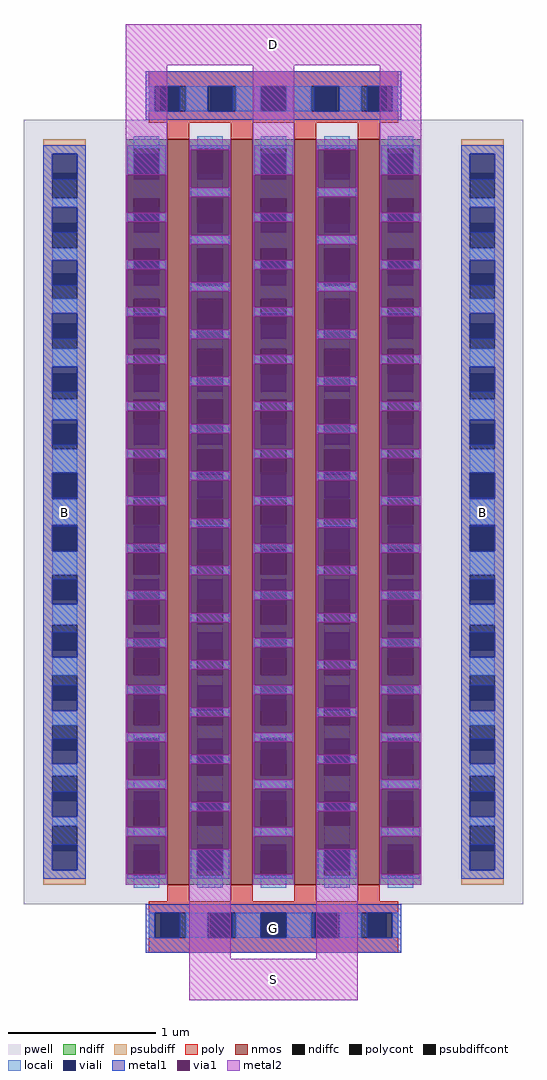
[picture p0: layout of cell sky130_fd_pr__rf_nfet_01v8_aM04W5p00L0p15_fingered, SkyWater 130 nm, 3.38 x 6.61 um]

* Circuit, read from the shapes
.subckt sky130_fd_pr__rf_nfet_01v8_aM04W5p00L0p15_fingered B D G S
XM1 S G D B sky130_fd_pr__nfet_01v8 w=5.05 l=0.15 m=4
.ends

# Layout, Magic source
magic
tech sky130A
magscale 1 2
<< pwell >>
rect 0 66 676 1128
<< nmos >>
rect 194 92 224 1102
rect 280 92 310 1102
rect 366 92 396 1102
rect 452 92 482 1102
<< ndiff >>
rect 138 1090 194 1102
rect 138 1056 149 1090
rect 183 1056 194 1090
rect 138 1022 194 1056
rect 138 988 149 1022
rect 183 988 194 1022
rect 138 954 194 988
rect 138 920 149 954
rect 183 920 194 954
rect 138 886 194 920
rect 138 852 149 886
rect 183 852 194 886
rect 138 818 194 852
rect 138 784 149 818
rect 183 784 194 818
rect 138 750 194 784
rect 138 716 149 750
rect 183 716 194 750
rect 138 682 194 716
rect 138 648 149 682
rect 183 648 194 682
rect 138 614 194 648
rect 138 580 149 614
rect 183 580 194 614
rect 138 546 194 580
rect 138 512 149 546
rect 183 512 194 546
rect 138 478 194 512
rect 138 444 149 478
rect 183 444 194 478
rect 138 410 194 444
rect 138 376 149 410
rect 183 376 194 410
rect 138 342 194 376
rect 138 308 149 342
rect 183 308 194 342
rect 138 274 194 308
rect 138 240 149 274
rect 183 240 194 274
rect 138 206 194 240
rect 138 172 149 206
rect 183 172 194 206
rect 138 138 194 172
rect 138 104 149 138
rect 183 104 194 138
rect 138 92 194 104
rect 224 1090 280 1102
rect 224 1056 235 1090
rect 269 1056 280 1090
rect 224 1022 280 1056
rect 224 988 235 1022
rect 269 988 280 1022
rect 224 954 280 988
rect 224 920 235 954
rect 269 920 280 954
rect 224 886 280 920
rect 224 852 235 886
rect 269 852 280 886
rect 224 818 280 852
rect 224 784 235 818
rect 269 784 280 818
rect 224 750 280 784
rect 224 716 235 750
rect 269 716 280 750
rect 224 682 280 716
rect 224 648 235 682
rect 269 648 280 682
rect 224 614 280 648
rect 224 580 235 614
rect 269 580 280 614
rect 224 546 280 580
rect 224 512 235 546
rect 269 512 280 546
rect 224 478 280 512
rect 224 444 235 478
rect 269 444 280 478
rect 224 410 280 444
rect 224 376 235 410
rect 269 376 280 410
rect 224 342 280 376
rect 224 308 235 342
rect 269 308 280 342
rect 224 274 280 308
rect 224 240 235 274
rect 269 240 280 274
rect 224 206 280 240
rect 224 172 235 206
rect 269 172 280 206
rect 224 138 280 172
rect 224 104 235 138
rect 269 104 280 138
rect 224 92 280 104
rect 310 1090 366 1102
rect 310 1056 321 1090
rect 355 1056 366 1090
rect 310 1022 366 1056
rect 310 988 321 1022
rect 355 988 366 1022
rect 310 954 366 988
rect 310 920 321 954
rect 355 920 366 954
rect 310 886 366 920
rect 310 852 321 886
rect 355 852 366 886
rect 310 818 366 852
rect 310 784 321 818
rect 355 784 366 818
rect 310 750 366 784
rect 310 716 321 750
rect 355 716 366 750
rect 310 682 366 716
rect 310 648 321 682
rect 355 648 366 682
rect 310 614 366 648
rect 310 580 321 614
rect 355 580 366 614
rect 310 546 366 580
rect 310 512 321 546
rect 355 512 366 546
rect 310 478 366 512
rect 310 444 321 478
rect 355 444 366 478
rect 310 410 366 444
rect 310 376 321 410
rect 355 376 366 410
rect 310 342 366 376
rect 310 308 321 342
rect 355 308 366 342
rect 310 274 366 308
rect 310 240 321 274
rect 355 240 366 274
rect 310 206 366 240
rect 310 172 321 206
rect 355 172 366 206
rect 310 138 366 172
rect 310 104 321 138
rect 355 104 366 138
rect 310 92 366 104
rect 396 1090 452 1102
rect 396 1056 407 1090
rect 441 1056 452 1090
rect 396 1022 452 1056
rect 396 988 407 1022
rect 441 988 452 1022
rect 396 954 452 988
rect 396 920 407 954
rect 441 920 452 954
rect 396 886 452 920
rect 396 852 407 886
rect 441 852 452 886
rect 396 818 452 852
rect 396 784 407 818
rect 441 784 452 818
rect 396 750 452 784
rect 396 716 407 750
rect 441 716 452 750
rect 396 682 452 716
rect 396 648 407 682
rect 441 648 452 682
rect 396 614 452 648
rect 396 580 407 614
rect 441 580 452 614
rect 396 546 452 580
rect 396 512 407 546
rect 441 512 452 546
rect 396 478 452 512
rect 396 444 407 478
rect 441 444 452 478
rect 396 410 452 444
rect 396 376 407 410
rect 441 376 452 410
rect 396 342 452 376
rect 396 308 407 342
rect 441 308 452 342
rect 396 274 452 308
rect 396 240 407 274
rect 441 240 452 274
rect 396 206 452 240
rect 396 172 407 206
rect 441 172 452 206
rect 396 138 452 172
rect 396 104 407 138
rect 441 104 452 138
rect 396 92 452 104
rect 482 1090 538 1102
rect 482 1056 493 1090
rect 527 1056 538 1090
rect 482 1022 538 1056
rect 482 988 493 1022
rect 527 988 538 1022
rect 482 954 538 988
rect 482 920 493 954
rect 527 920 538 954
rect 482 886 538 920
rect 482 852 493 886
rect 527 852 538 886
rect 482 818 538 852
rect 482 784 493 818
rect 527 784 538 818
rect 482 750 538 784
rect 482 716 493 750
rect 527 716 538 750
rect 482 682 538 716
rect 482 648 493 682
rect 527 648 538 682
rect 482 614 538 648
rect 482 580 493 614
rect 527 580 538 614
rect 482 546 538 580
rect 482 512 493 546
rect 527 512 538 546
rect 482 478 538 512
rect 482 444 493 478
rect 527 444 538 478
rect 482 410 538 444
rect 482 376 493 410
rect 527 376 538 410
rect 482 342 538 376
rect 482 308 493 342
rect 527 308 538 342
rect 482 274 538 308
rect 482 240 493 274
rect 527 240 538 274
rect 482 206 538 240
rect 482 172 493 206
rect 527 172 538 206
rect 482 138 538 172
rect 482 104 493 138
rect 527 104 538 138
rect 482 92 538 104
<< ndiffc >>
rect 149 1056 183 1090
rect 149 988 183 1022
rect 149 920 183 954
rect 149 852 183 886
rect 149 784 183 818
rect 149 716 183 750
rect 149 648 183 682
rect 149 580 183 614
rect 149 512 183 546
rect 149 444 183 478
rect 149 376 183 410
rect 149 308 183 342
rect 149 240 183 274
rect 149 172 183 206
rect 149 104 183 138
rect 235 1056 269 1090
rect 235 988 269 1022
rect 235 920 269 954
rect 235 852 269 886
rect 235 784 269 818
rect 235 716 269 750
rect 235 648 269 682
rect 235 580 269 614
rect 235 512 269 546
rect 235 444 269 478
rect 235 376 269 410
rect 235 308 269 342
rect 235 240 269 274
rect 235 172 269 206
rect 235 104 269 138
rect 321 1056 355 1090
rect 321 988 355 1022
rect 321 920 355 954
rect 321 852 355 886
rect 321 784 355 818
rect 321 716 355 750
rect 321 648 355 682
rect 321 580 355 614
rect 321 512 355 546
rect 321 444 355 478
rect 321 376 355 410
rect 321 308 355 342
rect 321 240 355 274
rect 321 172 355 206
rect 321 104 355 138
rect 407 1056 441 1090
rect 407 988 441 1022
rect 407 920 441 954
rect 407 852 441 886
rect 407 784 441 818
rect 407 716 441 750
rect 407 648 441 682
rect 407 580 441 614
rect 407 512 441 546
rect 407 444 441 478
rect 407 376 441 410
rect 407 308 441 342
rect 407 240 441 274
rect 407 172 441 206
rect 407 104 441 138
rect 493 1056 527 1090
rect 493 988 527 1022
rect 493 920 527 954
rect 493 852 527 886
rect 493 784 527 818
rect 493 716 527 750
rect 493 648 527 682
rect 493 580 527 614
rect 493 512 527 546
rect 493 444 527 478
rect 493 376 527 410
rect 493 308 527 342
rect 493 240 527 274
rect 493 172 527 206
rect 493 104 527 138
<< psubdiff >>
rect 26 1056 84 1102
rect 26 1022 38 1056
rect 72 1022 84 1056
rect 26 988 84 1022
rect 26 954 38 988
rect 72 954 84 988
rect 26 920 84 954
rect 26 886 38 920
rect 72 886 84 920
rect 26 852 84 886
rect 26 818 38 852
rect 72 818 84 852
rect 26 784 84 818
rect 26 750 38 784
rect 72 750 84 784
rect 26 716 84 750
rect 26 682 38 716
rect 72 682 84 716
rect 26 648 84 682
rect 26 614 38 648
rect 72 614 84 648
rect 26 580 84 614
rect 26 546 38 580
rect 72 546 84 580
rect 26 512 84 546
rect 26 478 38 512
rect 72 478 84 512
rect 26 444 84 478
rect 26 410 38 444
rect 72 410 84 444
rect 26 376 84 410
rect 26 342 38 376
rect 72 342 84 376
rect 26 308 84 342
rect 26 274 38 308
rect 72 274 84 308
rect 26 240 84 274
rect 26 206 38 240
rect 72 206 84 240
rect 26 172 84 206
rect 26 138 38 172
rect 72 138 84 172
rect 26 92 84 138
rect 592 1056 650 1102
rect 592 1022 604 1056
rect 638 1022 650 1056
rect 592 988 650 1022
rect 592 954 604 988
rect 638 954 650 988
rect 592 920 650 954
rect 592 886 604 920
rect 638 886 650 920
rect 592 852 650 886
rect 592 818 604 852
rect 638 818 650 852
rect 592 784 650 818
rect 592 750 604 784
rect 638 750 650 784
rect 592 716 650 750
rect 592 682 604 716
rect 638 682 650 716
rect 592 648 650 682
rect 592 614 604 648
rect 638 614 650 648
rect 592 580 650 614
rect 592 546 604 580
rect 638 546 650 580
rect 592 512 650 546
rect 592 478 604 512
rect 638 478 650 512
rect 592 444 650 478
rect 592 410 604 444
rect 638 410 650 444
rect 592 376 650 410
rect 592 342 604 376
rect 638 342 650 376
rect 592 308 650 342
rect 592 274 604 308
rect 638 274 650 308
rect 592 240 650 274
rect 592 206 604 240
rect 638 206 650 240
rect 592 172 650 206
rect 592 138 604 172
rect 638 138 650 172
rect 592 92 650 138
<< psubdiffcont >>
rect 38 1022 72 1056
rect 38 954 72 988
rect 38 886 72 920
rect 38 818 72 852
rect 38 750 72 784
rect 38 682 72 716
rect 38 614 72 648
rect 38 546 72 580
rect 38 478 72 512
rect 38 410 72 444
rect 38 342 72 376
rect 38 274 72 308
rect 38 206 72 240
rect 38 138 72 172
rect 604 1022 638 1056
rect 604 954 638 988
rect 604 886 638 920
rect 604 818 638 852
rect 604 750 638 784
rect 604 682 638 716
rect 604 614 638 648
rect 604 546 638 580
rect 604 478 638 512
rect 604 410 638 444
rect 604 342 638 376
rect 604 274 638 308
rect 604 206 638 240
rect 604 138 638 172
<< poly >>
rect 169 1174 507 1194
rect 169 1140 185 1174
rect 219 1140 253 1174
rect 287 1140 321 1174
rect 355 1140 389 1174
rect 423 1140 457 1174
rect 491 1140 507 1174
rect 169 1124 507 1140
rect 194 1102 224 1124
rect 280 1102 310 1124
rect 366 1102 396 1124
rect 452 1102 482 1124
rect 194 70 224 92
rect 280 70 310 92
rect 366 70 396 92
rect 452 70 482 92
rect 169 54 507 70
rect 169 20 185 54
rect 219 20 253 54
rect 287 20 321 54
rect 355 20 389 54
rect 423 20 457 54
rect 491 20 507 54
rect 169 0 507 20
<< polycont >>
rect 185 1140 219 1174
rect 253 1140 287 1174
rect 321 1140 355 1174
rect 389 1140 423 1174
rect 457 1140 491 1174
rect 185 20 219 54
rect 253 20 287 54
rect 321 20 355 54
rect 389 20 423 54
rect 457 20 491 54
<< locali >>
rect 169 1140 177 1174
rect 219 1140 249 1174
rect 287 1140 321 1174
rect 355 1140 389 1174
rect 427 1140 457 1174
rect 499 1140 507 1174
rect 149 1090 183 1106
rect 38 1010 72 1022
rect 38 938 72 954
rect 38 866 72 886
rect 38 794 72 818
rect 38 722 72 750
rect 38 650 72 682
rect 38 580 72 614
rect 38 512 72 544
rect 38 444 72 472
rect 38 376 72 400
rect 38 308 72 328
rect 38 240 72 256
rect 38 172 72 184
rect 149 1022 183 1048
rect 149 954 183 976
rect 149 886 183 904
rect 149 818 183 832
rect 149 750 183 760
rect 149 682 183 688
rect 149 614 183 616
rect 149 578 183 580
rect 149 506 183 512
rect 149 434 183 444
rect 149 362 183 376
rect 149 290 183 308
rect 149 218 183 240
rect 149 146 183 172
rect 149 88 183 104
rect 235 1090 269 1106
rect 235 1022 269 1048
rect 235 954 269 976
rect 235 886 269 904
rect 235 818 269 832
rect 235 750 269 760
rect 235 682 269 688
rect 235 614 269 616
rect 235 578 269 580
rect 235 506 269 512
rect 235 434 269 444
rect 235 362 269 376
rect 235 290 269 308
rect 235 218 269 240
rect 235 146 269 172
rect 235 88 269 104
rect 321 1090 355 1106
rect 321 1022 355 1048
rect 321 954 355 976
rect 321 886 355 904
rect 321 818 355 832
rect 321 750 355 760
rect 321 682 355 688
rect 321 614 355 616
rect 321 578 355 580
rect 321 506 355 512
rect 321 434 355 444
rect 321 362 355 376
rect 321 290 355 308
rect 321 218 355 240
rect 321 146 355 172
rect 321 88 355 104
rect 407 1090 441 1106
rect 407 1022 441 1048
rect 407 954 441 976
rect 407 886 441 904
rect 407 818 441 832
rect 407 750 441 760
rect 407 682 441 688
rect 407 614 441 616
rect 407 578 441 580
rect 407 506 441 512
rect 407 434 441 444
rect 407 362 441 376
rect 407 290 441 308
rect 407 218 441 240
rect 407 146 441 172
rect 407 88 441 104
rect 493 1090 527 1106
rect 493 1022 527 1048
rect 493 954 527 976
rect 493 886 527 904
rect 493 818 527 832
rect 493 750 527 760
rect 493 682 527 688
rect 493 614 527 616
rect 493 578 527 580
rect 493 506 527 512
rect 493 434 527 444
rect 493 362 527 376
rect 493 290 527 308
rect 493 218 527 240
rect 493 146 527 172
rect 604 1010 638 1022
rect 604 938 638 954
rect 604 866 638 886
rect 604 794 638 818
rect 604 722 638 750
rect 604 650 638 682
rect 604 580 638 614
rect 604 512 638 544
rect 604 444 638 472
rect 604 376 638 400
rect 604 308 638 328
rect 604 240 638 256
rect 604 172 638 184
rect 493 88 527 104
rect 169 20 177 54
rect 219 20 249 54
rect 287 20 321 54
rect 355 20 389 54
rect 427 20 457 54
rect 499 20 507 54
<< viali >>
rect 177 1140 185 1174
rect 185 1140 211 1174
rect 249 1140 253 1174
rect 253 1140 283 1174
rect 321 1140 355 1174
rect 393 1140 423 1174
rect 423 1140 427 1174
rect 465 1140 491 1174
rect 491 1140 499 1174
rect 38 1056 72 1082
rect 38 1048 72 1056
rect 38 988 72 1010
rect 38 976 72 988
rect 38 920 72 938
rect 38 904 72 920
rect 38 852 72 866
rect 38 832 72 852
rect 38 784 72 794
rect 38 760 72 784
rect 38 716 72 722
rect 38 688 72 716
rect 38 648 72 650
rect 38 616 72 648
rect 38 546 72 578
rect 38 544 72 546
rect 38 478 72 506
rect 38 472 72 478
rect 38 410 72 434
rect 38 400 72 410
rect 38 342 72 362
rect 38 328 72 342
rect 38 274 72 290
rect 38 256 72 274
rect 38 206 72 218
rect 38 184 72 206
rect 38 138 72 146
rect 38 112 72 138
rect 149 1056 183 1082
rect 149 1048 183 1056
rect 149 988 183 1010
rect 149 976 183 988
rect 149 920 183 938
rect 149 904 183 920
rect 149 852 183 866
rect 149 832 183 852
rect 149 784 183 794
rect 149 760 183 784
rect 149 716 183 722
rect 149 688 183 716
rect 149 648 183 650
rect 149 616 183 648
rect 149 546 183 578
rect 149 544 183 546
rect 149 478 183 506
rect 149 472 183 478
rect 149 410 183 434
rect 149 400 183 410
rect 149 342 183 362
rect 149 328 183 342
rect 149 274 183 290
rect 149 256 183 274
rect 149 206 183 218
rect 149 184 183 206
rect 149 138 183 146
rect 149 112 183 138
rect 235 1056 269 1082
rect 235 1048 269 1056
rect 235 988 269 1010
rect 235 976 269 988
rect 235 920 269 938
rect 235 904 269 920
rect 235 852 269 866
rect 235 832 269 852
rect 235 784 269 794
rect 235 760 269 784
rect 235 716 269 722
rect 235 688 269 716
rect 235 648 269 650
rect 235 616 269 648
rect 235 546 269 578
rect 235 544 269 546
rect 235 478 269 506
rect 235 472 269 478
rect 235 410 269 434
rect 235 400 269 410
rect 235 342 269 362
rect 235 328 269 342
rect 235 274 269 290
rect 235 256 269 274
rect 235 206 269 218
rect 235 184 269 206
rect 235 138 269 146
rect 235 112 269 138
rect 321 1056 355 1082
rect 321 1048 355 1056
rect 321 988 355 1010
rect 321 976 355 988
rect 321 920 355 938
rect 321 904 355 920
rect 321 852 355 866
rect 321 832 355 852
rect 321 784 355 794
rect 321 760 355 784
rect 321 716 355 722
rect 321 688 355 716
rect 321 648 355 650
rect 321 616 355 648
rect 321 546 355 578
rect 321 544 355 546
rect 321 478 355 506
rect 321 472 355 478
rect 321 410 355 434
rect 321 400 355 410
rect 321 342 355 362
rect 321 328 355 342
rect 321 274 355 290
rect 321 256 355 274
rect 321 206 355 218
rect 321 184 355 206
rect 321 138 355 146
rect 321 112 355 138
rect 407 1056 441 1082
rect 407 1048 441 1056
rect 407 988 441 1010
rect 407 976 441 988
rect 407 920 441 938
rect 407 904 441 920
rect 407 852 441 866
rect 407 832 441 852
rect 407 784 441 794
rect 407 760 441 784
rect 407 716 441 722
rect 407 688 441 716
rect 407 648 441 650
rect 407 616 441 648
rect 407 546 441 578
rect 407 544 441 546
rect 407 478 441 506
rect 407 472 441 478
rect 407 410 441 434
rect 407 400 441 410
rect 407 342 441 362
rect 407 328 441 342
rect 407 274 441 290
rect 407 256 441 274
rect 407 206 441 218
rect 407 184 441 206
rect 407 138 441 146
rect 407 112 441 138
rect 493 1056 527 1082
rect 493 1048 527 1056
rect 493 988 527 1010
rect 493 976 527 988
rect 493 920 527 938
rect 493 904 527 920
rect 493 852 527 866
rect 493 832 527 852
rect 493 784 527 794
rect 493 760 527 784
rect 493 716 527 722
rect 493 688 527 716
rect 493 648 527 650
rect 493 616 527 648
rect 493 546 527 578
rect 493 544 527 546
rect 493 478 527 506
rect 493 472 527 478
rect 493 410 527 434
rect 493 400 527 410
rect 493 342 527 362
rect 493 328 527 342
rect 493 274 527 290
rect 493 256 527 274
rect 493 206 527 218
rect 493 184 527 206
rect 493 138 527 146
rect 493 112 527 138
rect 604 1056 638 1082
rect 604 1048 638 1056
rect 604 988 638 1010
rect 604 976 638 988
rect 604 920 638 938
rect 604 904 638 920
rect 604 852 638 866
rect 604 832 638 852
rect 604 784 638 794
rect 604 760 638 784
rect 604 716 638 722
rect 604 688 638 716
rect 604 648 638 650
rect 604 616 638 648
rect 604 546 638 578
rect 604 544 638 546
rect 604 478 638 506
rect 604 472 638 478
rect 604 410 638 434
rect 604 400 638 410
rect 604 342 638 362
rect 604 328 638 342
rect 604 274 638 290
rect 604 256 638 274
rect 604 206 638 218
rect 604 184 638 206
rect 604 138 638 146
rect 604 112 638 138
rect 177 20 185 54
rect 185 20 211 54
rect 249 20 253 54
rect 253 20 283 54
rect 321 20 355 54
rect 393 20 423 54
rect 423 20 427 54
rect 465 20 491 54
rect 491 20 499 54
<< metal1 >>
rect 165 1174 511 1194
rect 165 1140 177 1174
rect 211 1140 249 1174
rect 283 1140 321 1174
rect 355 1140 393 1174
rect 427 1140 465 1174
rect 499 1140 511 1174
rect 165 1128 511 1140
rect 26 1082 84 1094
rect 26 1048 38 1082
rect 72 1048 84 1082
rect 26 1010 84 1048
rect 26 976 38 1010
rect 72 976 84 1010
rect 26 938 84 976
rect 26 904 38 938
rect 72 904 84 938
rect 26 866 84 904
rect 26 832 38 866
rect 72 832 84 866
rect 26 794 84 832
rect 26 760 38 794
rect 72 760 84 794
rect 26 722 84 760
rect 26 688 38 722
rect 72 688 84 722
rect 26 650 84 688
rect 26 616 38 650
rect 72 616 84 650
rect 26 578 84 616
rect 26 544 38 578
rect 72 544 84 578
rect 26 506 84 544
rect 26 472 38 506
rect 72 472 84 506
rect 26 434 84 472
rect 26 400 38 434
rect 72 400 84 434
rect 26 362 84 400
rect 26 328 38 362
rect 72 328 84 362
rect 26 290 84 328
rect 26 256 38 290
rect 72 256 84 290
rect 26 218 84 256
rect 26 184 38 218
rect 72 184 84 218
rect 26 146 84 184
rect 26 112 38 146
rect 72 112 84 146
rect 26 100 84 112
rect 140 1082 192 1094
rect 140 1054 149 1082
rect 183 1054 192 1082
rect 140 990 149 1002
rect 183 990 192 1002
rect 140 926 149 938
rect 183 926 192 938
rect 140 866 192 874
rect 140 862 149 866
rect 183 862 192 866
rect 140 798 192 810
rect 140 734 192 746
rect 140 670 192 682
rect 140 616 149 618
rect 183 616 192 618
rect 140 606 192 616
rect 140 544 149 554
rect 183 544 192 554
rect 140 542 192 544
rect 140 478 149 490
rect 183 478 192 490
rect 140 414 149 426
rect 183 414 192 426
rect 140 350 149 362
rect 183 350 192 362
rect 140 290 192 298
rect 140 286 149 290
rect 183 286 192 290
rect 140 222 192 234
rect 140 158 192 170
rect 140 100 192 106
rect 226 1088 278 1094
rect 226 1024 278 1036
rect 226 960 278 972
rect 226 904 235 908
rect 269 904 278 908
rect 226 896 278 904
rect 226 832 235 844
rect 269 832 278 844
rect 226 768 235 780
rect 269 768 278 780
rect 226 704 235 716
rect 269 704 278 716
rect 226 650 278 652
rect 226 640 235 650
rect 269 640 278 650
rect 226 578 278 588
rect 226 576 235 578
rect 269 576 278 578
rect 226 512 278 524
rect 226 448 278 460
rect 226 384 278 396
rect 226 328 235 332
rect 269 328 278 332
rect 226 320 278 328
rect 226 256 235 268
rect 269 256 278 268
rect 226 192 235 204
rect 269 192 278 204
rect 226 112 235 140
rect 269 112 278 140
rect 226 100 278 112
rect 312 1082 364 1094
rect 312 1054 321 1082
rect 355 1054 364 1082
rect 312 990 321 1002
rect 355 990 364 1002
rect 312 926 321 938
rect 355 926 364 938
rect 312 866 364 874
rect 312 862 321 866
rect 355 862 364 866
rect 312 798 364 810
rect 312 734 364 746
rect 312 670 364 682
rect 312 616 321 618
rect 355 616 364 618
rect 312 606 364 616
rect 312 544 321 554
rect 355 544 364 554
rect 312 542 364 544
rect 312 478 321 490
rect 355 478 364 490
rect 312 414 321 426
rect 355 414 364 426
rect 312 350 321 362
rect 355 350 364 362
rect 312 290 364 298
rect 312 286 321 290
rect 355 286 364 290
rect 312 222 364 234
rect 312 158 364 170
rect 312 100 364 106
rect 398 1088 450 1094
rect 398 1024 450 1036
rect 398 960 450 972
rect 398 904 407 908
rect 441 904 450 908
rect 398 896 450 904
rect 398 832 407 844
rect 441 832 450 844
rect 398 768 407 780
rect 441 768 450 780
rect 398 704 407 716
rect 441 704 450 716
rect 398 650 450 652
rect 398 640 407 650
rect 441 640 450 650
rect 398 578 450 588
rect 398 576 407 578
rect 441 576 450 578
rect 398 512 450 524
rect 398 448 450 460
rect 398 384 450 396
rect 398 328 407 332
rect 441 328 450 332
rect 398 320 450 328
rect 398 256 407 268
rect 441 256 450 268
rect 398 192 407 204
rect 441 192 450 204
rect 398 112 407 140
rect 441 112 450 140
rect 398 100 450 112
rect 484 1082 536 1094
rect 484 1054 493 1082
rect 527 1054 536 1082
rect 484 990 493 1002
rect 527 990 536 1002
rect 484 926 493 938
rect 527 926 536 938
rect 484 866 536 874
rect 484 862 493 866
rect 527 862 536 866
rect 484 798 536 810
rect 484 734 536 746
rect 484 670 536 682
rect 484 616 493 618
rect 527 616 536 618
rect 484 606 536 616
rect 484 544 493 554
rect 527 544 536 554
rect 484 542 536 544
rect 484 478 493 490
rect 527 478 536 490
rect 484 414 493 426
rect 527 414 536 426
rect 484 350 493 362
rect 527 350 536 362
rect 484 290 536 298
rect 484 286 493 290
rect 527 286 536 290
rect 484 222 536 234
rect 484 158 536 170
rect 484 100 536 106
rect 592 1082 650 1094
rect 592 1048 604 1082
rect 638 1048 650 1082
rect 592 1010 650 1048
rect 592 976 604 1010
rect 638 976 650 1010
rect 592 938 650 976
rect 592 904 604 938
rect 638 904 650 938
rect 592 866 650 904
rect 592 832 604 866
rect 638 832 650 866
rect 592 794 650 832
rect 592 760 604 794
rect 638 760 650 794
rect 592 722 650 760
rect 592 688 604 722
rect 638 688 650 722
rect 592 650 650 688
rect 592 616 604 650
rect 638 616 650 650
rect 592 578 650 616
rect 592 544 604 578
rect 638 544 650 578
rect 592 506 650 544
rect 592 472 604 506
rect 638 472 650 506
rect 592 434 650 472
rect 592 400 604 434
rect 638 400 650 434
rect 592 362 650 400
rect 592 328 604 362
rect 638 328 650 362
rect 592 290 650 328
rect 592 256 604 290
rect 638 256 650 290
rect 592 218 650 256
rect 592 184 604 218
rect 638 184 650 218
rect 592 146 650 184
rect 592 112 604 146
rect 638 112 650 146
rect 592 100 650 112
rect 165 54 511 66
rect 165 20 177 54
rect 211 20 249 54
rect 283 20 321 54
rect 355 20 393 54
rect 427 20 465 54
rect 499 20 511 54
rect 165 0 511 20
<< via1 >>
rect 140 1048 149 1054
rect 149 1048 183 1054
rect 183 1048 192 1054
rect 140 1010 192 1048
rect 140 1002 149 1010
rect 149 1002 183 1010
rect 183 1002 192 1010
rect 140 976 149 990
rect 149 976 183 990
rect 183 976 192 990
rect 140 938 192 976
rect 140 904 149 926
rect 149 904 183 926
rect 183 904 192 926
rect 140 874 192 904
rect 140 832 149 862
rect 149 832 183 862
rect 183 832 192 862
rect 140 810 192 832
rect 140 794 192 798
rect 140 760 149 794
rect 149 760 183 794
rect 183 760 192 794
rect 140 746 192 760
rect 140 722 192 734
rect 140 688 149 722
rect 149 688 183 722
rect 183 688 192 722
rect 140 682 192 688
rect 140 650 192 670
rect 140 618 149 650
rect 149 618 183 650
rect 183 618 192 650
rect 140 578 192 606
rect 140 554 149 578
rect 149 554 183 578
rect 183 554 192 578
rect 140 506 192 542
rect 140 490 149 506
rect 149 490 183 506
rect 183 490 192 506
rect 140 472 149 478
rect 149 472 183 478
rect 183 472 192 478
rect 140 434 192 472
rect 140 426 149 434
rect 149 426 183 434
rect 183 426 192 434
rect 140 400 149 414
rect 149 400 183 414
rect 183 400 192 414
rect 140 362 192 400
rect 140 328 149 350
rect 149 328 183 350
rect 183 328 192 350
rect 140 298 192 328
rect 140 256 149 286
rect 149 256 183 286
rect 183 256 192 286
rect 140 234 192 256
rect 140 218 192 222
rect 140 184 149 218
rect 149 184 183 218
rect 183 184 192 218
rect 140 170 192 184
rect 140 146 192 158
rect 140 112 149 146
rect 149 112 183 146
rect 183 112 192 146
rect 140 106 192 112
rect 226 1082 278 1088
rect 226 1048 235 1082
rect 235 1048 269 1082
rect 269 1048 278 1082
rect 226 1036 278 1048
rect 226 1010 278 1024
rect 226 976 235 1010
rect 235 976 269 1010
rect 269 976 278 1010
rect 226 972 278 976
rect 226 938 278 960
rect 226 908 235 938
rect 235 908 269 938
rect 269 908 278 938
rect 226 866 278 896
rect 226 844 235 866
rect 235 844 269 866
rect 269 844 278 866
rect 226 794 278 832
rect 226 780 235 794
rect 235 780 269 794
rect 269 780 278 794
rect 226 760 235 768
rect 235 760 269 768
rect 269 760 278 768
rect 226 722 278 760
rect 226 716 235 722
rect 235 716 269 722
rect 269 716 278 722
rect 226 688 235 704
rect 235 688 269 704
rect 269 688 278 704
rect 226 652 278 688
rect 226 616 235 640
rect 235 616 269 640
rect 269 616 278 640
rect 226 588 278 616
rect 226 544 235 576
rect 235 544 269 576
rect 269 544 278 576
rect 226 524 278 544
rect 226 506 278 512
rect 226 472 235 506
rect 235 472 269 506
rect 269 472 278 506
rect 226 460 278 472
rect 226 434 278 448
rect 226 400 235 434
rect 235 400 269 434
rect 269 400 278 434
rect 226 396 278 400
rect 226 362 278 384
rect 226 332 235 362
rect 235 332 269 362
rect 269 332 278 362
rect 226 290 278 320
rect 226 268 235 290
rect 235 268 269 290
rect 269 268 278 290
rect 226 218 278 256
rect 226 204 235 218
rect 235 204 269 218
rect 269 204 278 218
rect 226 184 235 192
rect 235 184 269 192
rect 269 184 278 192
rect 226 146 278 184
rect 226 140 235 146
rect 235 140 269 146
rect 269 140 278 146
rect 312 1048 321 1054
rect 321 1048 355 1054
rect 355 1048 364 1054
rect 312 1010 364 1048
rect 312 1002 321 1010
rect 321 1002 355 1010
rect 355 1002 364 1010
rect 312 976 321 990
rect 321 976 355 990
rect 355 976 364 990
rect 312 938 364 976
rect 312 904 321 926
rect 321 904 355 926
rect 355 904 364 926
rect 312 874 364 904
rect 312 832 321 862
rect 321 832 355 862
rect 355 832 364 862
rect 312 810 364 832
rect 312 794 364 798
rect 312 760 321 794
rect 321 760 355 794
rect 355 760 364 794
rect 312 746 364 760
rect 312 722 364 734
rect 312 688 321 722
rect 321 688 355 722
rect 355 688 364 722
rect 312 682 364 688
rect 312 650 364 670
rect 312 618 321 650
rect 321 618 355 650
rect 355 618 364 650
rect 312 578 364 606
rect 312 554 321 578
rect 321 554 355 578
rect 355 554 364 578
rect 312 506 364 542
rect 312 490 321 506
rect 321 490 355 506
rect 355 490 364 506
rect 312 472 321 478
rect 321 472 355 478
rect 355 472 364 478
rect 312 434 364 472
rect 312 426 321 434
rect 321 426 355 434
rect 355 426 364 434
rect 312 400 321 414
rect 321 400 355 414
rect 355 400 364 414
rect 312 362 364 400
rect 312 328 321 350
rect 321 328 355 350
rect 355 328 364 350
rect 312 298 364 328
rect 312 256 321 286
rect 321 256 355 286
rect 355 256 364 286
rect 312 234 364 256
rect 312 218 364 222
rect 312 184 321 218
rect 321 184 355 218
rect 355 184 364 218
rect 312 170 364 184
rect 312 146 364 158
rect 312 112 321 146
rect 321 112 355 146
rect 355 112 364 146
rect 312 106 364 112
rect 398 1082 450 1088
rect 398 1048 407 1082
rect 407 1048 441 1082
rect 441 1048 450 1082
rect 398 1036 450 1048
rect 398 1010 450 1024
rect 398 976 407 1010
rect 407 976 441 1010
rect 441 976 450 1010
rect 398 972 450 976
rect 398 938 450 960
rect 398 908 407 938
rect 407 908 441 938
rect 441 908 450 938
rect 398 866 450 896
rect 398 844 407 866
rect 407 844 441 866
rect 441 844 450 866
rect 398 794 450 832
rect 398 780 407 794
rect 407 780 441 794
rect 441 780 450 794
rect 398 760 407 768
rect 407 760 441 768
rect 441 760 450 768
rect 398 722 450 760
rect 398 716 407 722
rect 407 716 441 722
rect 441 716 450 722
rect 398 688 407 704
rect 407 688 441 704
rect 441 688 450 704
rect 398 652 450 688
rect 398 616 407 640
rect 407 616 441 640
rect 441 616 450 640
rect 398 588 450 616
rect 398 544 407 576
rect 407 544 441 576
rect 441 544 450 576
rect 398 524 450 544
rect 398 506 450 512
rect 398 472 407 506
rect 407 472 441 506
rect 441 472 450 506
rect 398 460 450 472
rect 398 434 450 448
rect 398 400 407 434
rect 407 400 441 434
rect 441 400 450 434
rect 398 396 450 400
rect 398 362 450 384
rect 398 332 407 362
rect 407 332 441 362
rect 441 332 450 362
rect 398 290 450 320
rect 398 268 407 290
rect 407 268 441 290
rect 441 268 450 290
rect 398 218 450 256
rect 398 204 407 218
rect 407 204 441 218
rect 441 204 450 218
rect 398 184 407 192
rect 407 184 441 192
rect 441 184 450 192
rect 398 146 450 184
rect 398 140 407 146
rect 407 140 441 146
rect 441 140 450 146
rect 484 1048 493 1054
rect 493 1048 527 1054
rect 527 1048 536 1054
rect 484 1010 536 1048
rect 484 1002 493 1010
rect 493 1002 527 1010
rect 527 1002 536 1010
rect 484 976 493 990
rect 493 976 527 990
rect 527 976 536 990
rect 484 938 536 976
rect 484 904 493 926
rect 493 904 527 926
rect 527 904 536 926
rect 484 874 536 904
rect 484 832 493 862
rect 493 832 527 862
rect 527 832 536 862
rect 484 810 536 832
rect 484 794 536 798
rect 484 760 493 794
rect 493 760 527 794
rect 527 760 536 794
rect 484 746 536 760
rect 484 722 536 734
rect 484 688 493 722
rect 493 688 527 722
rect 527 688 536 722
rect 484 682 536 688
rect 484 650 536 670
rect 484 618 493 650
rect 493 618 527 650
rect 527 618 536 650
rect 484 578 536 606
rect 484 554 493 578
rect 493 554 527 578
rect 527 554 536 578
rect 484 506 536 542
rect 484 490 493 506
rect 493 490 527 506
rect 527 490 536 506
rect 484 472 493 478
rect 493 472 527 478
rect 527 472 536 478
rect 484 434 536 472
rect 484 426 493 434
rect 493 426 527 434
rect 527 426 536 434
rect 484 400 493 414
rect 493 400 527 414
rect 527 400 536 414
rect 484 362 536 400
rect 484 328 493 350
rect 493 328 527 350
rect 527 328 536 350
rect 484 298 536 328
rect 484 256 493 286
rect 493 256 527 286
rect 527 256 536 286
rect 484 234 536 256
rect 484 218 536 222
rect 484 184 493 218
rect 493 184 527 218
rect 527 184 536 218
rect 484 170 536 184
rect 484 146 536 158
rect 484 112 493 146
rect 493 112 527 146
rect 527 112 536 146
rect 484 106 536 112
<< metal2 >>
rect 138 1202 538 1258
rect 138 1054 194 1202
rect 138 1002 140 1054
rect 192 1002 194 1054
rect 138 990 194 1002
rect 138 938 140 990
rect 192 938 194 990
rect 138 926 194 938
rect 138 874 140 926
rect 192 874 194 926
rect 138 862 194 874
rect 138 810 140 862
rect 192 810 194 862
rect 138 798 194 810
rect 138 746 140 798
rect 192 746 194 798
rect 138 734 194 746
rect 138 682 140 734
rect 192 682 194 734
rect 138 670 194 682
rect 138 618 140 670
rect 192 618 194 670
rect 138 606 194 618
rect 138 554 140 606
rect 192 554 194 606
rect 138 542 194 554
rect 138 490 140 542
rect 192 490 194 542
rect 138 478 194 490
rect 138 426 140 478
rect 192 426 194 478
rect 138 414 194 426
rect 138 362 140 414
rect 192 362 194 414
rect 138 350 194 362
rect 138 298 140 350
rect 192 298 194 350
rect 138 286 194 298
rect 138 234 140 286
rect 192 234 194 286
rect 138 222 194 234
rect 138 170 140 222
rect 192 170 194 222
rect 138 158 194 170
rect 138 106 140 158
rect 192 106 194 158
rect 138 92 194 106
rect 224 1088 280 1102
rect 224 1036 226 1088
rect 278 1036 280 1088
rect 224 1024 280 1036
rect 224 972 226 1024
rect 278 972 280 1024
rect 224 960 280 972
rect 224 908 226 960
rect 278 908 280 960
rect 224 896 280 908
rect 224 844 226 896
rect 278 844 280 896
rect 224 832 280 844
rect 224 780 226 832
rect 278 780 280 832
rect 224 768 280 780
rect 224 716 226 768
rect 278 716 280 768
rect 224 704 280 716
rect 224 652 226 704
rect 278 652 280 704
rect 224 640 280 652
rect 224 588 226 640
rect 278 588 280 640
rect 224 576 280 588
rect 224 524 226 576
rect 278 524 280 576
rect 224 512 280 524
rect 224 460 226 512
rect 278 460 280 512
rect 224 448 280 460
rect 224 396 226 448
rect 278 396 280 448
rect 224 384 280 396
rect 224 332 226 384
rect 278 332 280 384
rect 224 320 280 332
rect 224 268 226 320
rect 278 268 280 320
rect 224 256 280 268
rect 224 204 226 256
rect 278 204 280 256
rect 224 192 280 204
rect 224 140 226 192
rect 278 140 280 192
rect 224 -8 280 140
rect 310 1054 366 1202
rect 310 1002 312 1054
rect 364 1002 366 1054
rect 310 990 366 1002
rect 310 938 312 990
rect 364 938 366 990
rect 310 926 366 938
rect 310 874 312 926
rect 364 874 366 926
rect 310 862 366 874
rect 310 810 312 862
rect 364 810 366 862
rect 310 798 366 810
rect 310 746 312 798
rect 364 746 366 798
rect 310 734 366 746
rect 310 682 312 734
rect 364 682 366 734
rect 310 670 366 682
rect 310 618 312 670
rect 364 618 366 670
rect 310 606 366 618
rect 310 554 312 606
rect 364 554 366 606
rect 310 542 366 554
rect 310 490 312 542
rect 364 490 366 542
rect 310 478 366 490
rect 310 426 312 478
rect 364 426 366 478
rect 310 414 366 426
rect 310 362 312 414
rect 364 362 366 414
rect 310 350 366 362
rect 310 298 312 350
rect 364 298 366 350
rect 310 286 366 298
rect 310 234 312 286
rect 364 234 366 286
rect 310 222 366 234
rect 310 170 312 222
rect 364 170 366 222
rect 310 158 366 170
rect 310 106 312 158
rect 364 106 366 158
rect 310 92 366 106
rect 396 1088 452 1102
rect 396 1036 398 1088
rect 450 1036 452 1088
rect 396 1024 452 1036
rect 396 972 398 1024
rect 450 972 452 1024
rect 396 960 452 972
rect 396 908 398 960
rect 450 908 452 960
rect 396 896 452 908
rect 396 844 398 896
rect 450 844 452 896
rect 396 832 452 844
rect 396 780 398 832
rect 450 780 452 832
rect 396 768 452 780
rect 396 716 398 768
rect 450 716 452 768
rect 396 704 452 716
rect 396 652 398 704
rect 450 652 452 704
rect 396 640 452 652
rect 396 588 398 640
rect 450 588 452 640
rect 396 576 452 588
rect 396 524 398 576
rect 450 524 452 576
rect 396 512 452 524
rect 396 460 398 512
rect 450 460 452 512
rect 396 448 452 460
rect 396 396 398 448
rect 450 396 452 448
rect 396 384 452 396
rect 396 332 398 384
rect 450 332 452 384
rect 396 320 452 332
rect 396 268 398 320
rect 450 268 452 320
rect 396 256 452 268
rect 396 204 398 256
rect 450 204 452 256
rect 396 192 452 204
rect 396 140 398 192
rect 450 140 452 192
rect 396 -8 452 140
rect 482 1054 538 1202
rect 482 1002 484 1054
rect 536 1002 538 1054
rect 482 990 538 1002
rect 482 938 484 990
rect 536 938 538 990
rect 482 926 538 938
rect 482 874 484 926
rect 536 874 538 926
rect 482 862 538 874
rect 482 810 484 862
rect 536 810 538 862
rect 482 798 538 810
rect 482 746 484 798
rect 536 746 538 798
rect 482 734 538 746
rect 482 682 484 734
rect 536 682 538 734
rect 482 670 538 682
rect 482 618 484 670
rect 536 618 538 670
rect 482 606 538 618
rect 482 554 484 606
rect 536 554 538 606
rect 482 542 538 554
rect 482 490 484 542
rect 536 490 538 542
rect 482 478 538 490
rect 482 426 484 478
rect 536 426 538 478
rect 482 414 538 426
rect 482 362 484 414
rect 536 362 538 414
rect 482 350 538 362
rect 482 298 484 350
rect 536 298 538 350
rect 482 286 538 298
rect 482 234 484 286
rect 536 234 538 286
rect 482 222 538 234
rect 482 170 484 222
rect 536 170 538 222
rect 482 158 538 170
rect 482 106 484 158
rect 536 106 538 158
rect 482 92 538 106
rect 224 -64 452 -8
<< labels >>
rlabel metal2 138 1202 538 1258 1 D
rlabel metal2 224 -64 452 -8 1 S
rlabel metal1 25 100 84 1094 1 B
rlabel metal1 592 99 651 1093 1 B
rlabel metal1 165 -1 511 66 1 G
<< end >>
